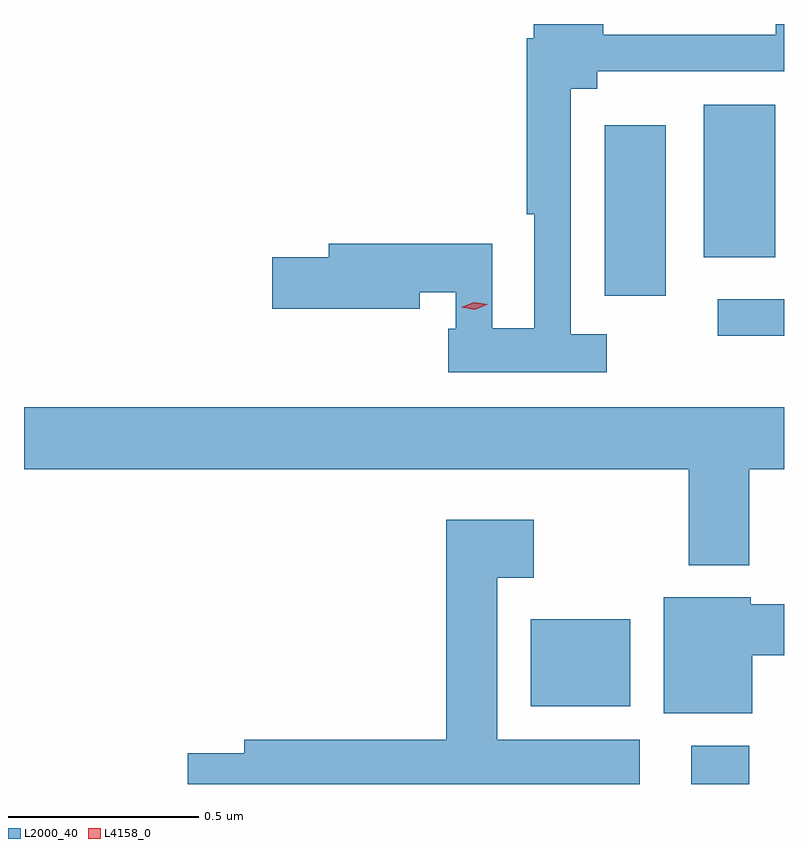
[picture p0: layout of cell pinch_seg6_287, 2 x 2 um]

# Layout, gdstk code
import gdstk
lib = gdstk.Library(unit=1e-6, precision=1e-09)
def R(c, l, rs):  # rectangles x0, y0, x1, y1
    for r in rs: c.add(gdstk.rectangle(r[:2], r[2:], *l))
def P(c, l, *ps):  # polygons
    for p in ps: c.add(gdstk.Polygon(p, *l))
L2000_40 = (2000, 40)
L4158_0 = (4158, 0)

pinch_seg6_287 = lib.new_cell('pinch_seg6_287')
R(pinch_seg6_287, L2000_40, [(876.617,986.468,876.77,986.569), (876.194,986.672,876.457,986.902), (876.687,987.648,876.861,987.744), (876.389,987.753,876.55,988.201), (876.65,987.854,876.838,988.255)])
P(pinch_seg6_287, L2000_40, [(876.394,987.652),(876.3,987.652),(876.3,988.298),(876.37,988.298),(876.37,988.344),(876.861,988.344),(876.861,988.468),(876.839,988.468),(876.839,988.44),(876.385,988.44),(876.385,988.468),(876.203,988.468),(876.203,988.43),(876.184,988.43),(876.184,987.967),(876.204,987.967),(876.204,987.668),(876.093,987.668),(876.093,987.89),(875.663,987.89),(875.663,987.854),(875.514,987.854),(875.514,987.719),(875.902,987.719),(875.902,987.762),(875.997,987.762),(875.997,987.666),(875.977,987.666),(875.977,987.552),(876.394,987.552)],
  [(876.77,987.296),(876.861,987.296),(876.861,987.46),(874.861,987.46),(874.861,987.296),(876.61,987.296),(876.61,987.044),(876.77,987.044)],
  [(876.481,986.584),(876.106,986.584),(876.106,987.011),(876.202,987.011),(876.202,987.163),(875.972,987.163),(875.972,986.585),(875.441,986.585),(875.441,986.549),(875.292,986.549),(875.292,986.468),(876.481,986.468)],
  [(876.778,986.807),(876.861,986.807),(876.861,986.941),(876.774,986.941),(876.774,986.959),(876.545,986.959),(876.545,986.654),(876.778,986.654)])
P(pinch_seg6_287, L4158_0, [(876.047,987.716),(876.011,987.722),(876.01,987.722),(876.011,987.723),(876.045,987.736),(876.082,987.73),(876.082,987.73),(876.082,987.73)])

lib.write_gds('pinch_seg6_287.gds')
